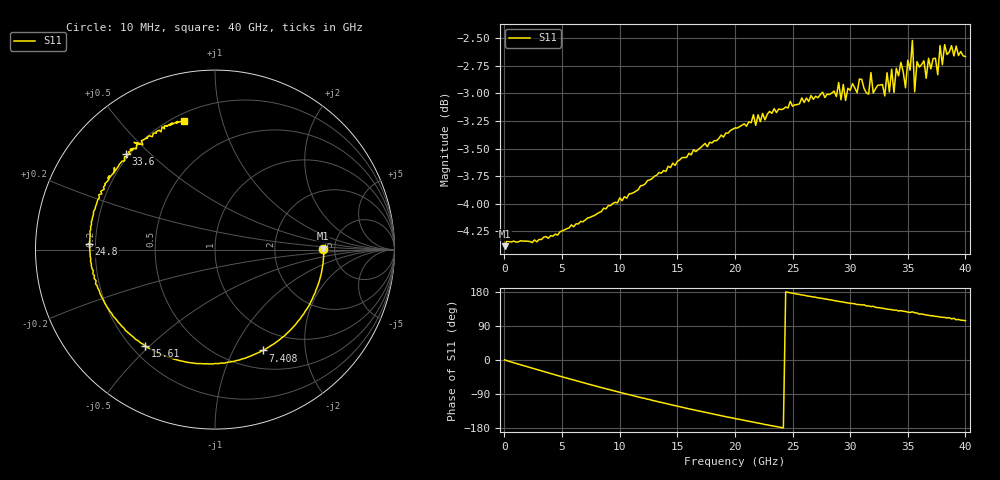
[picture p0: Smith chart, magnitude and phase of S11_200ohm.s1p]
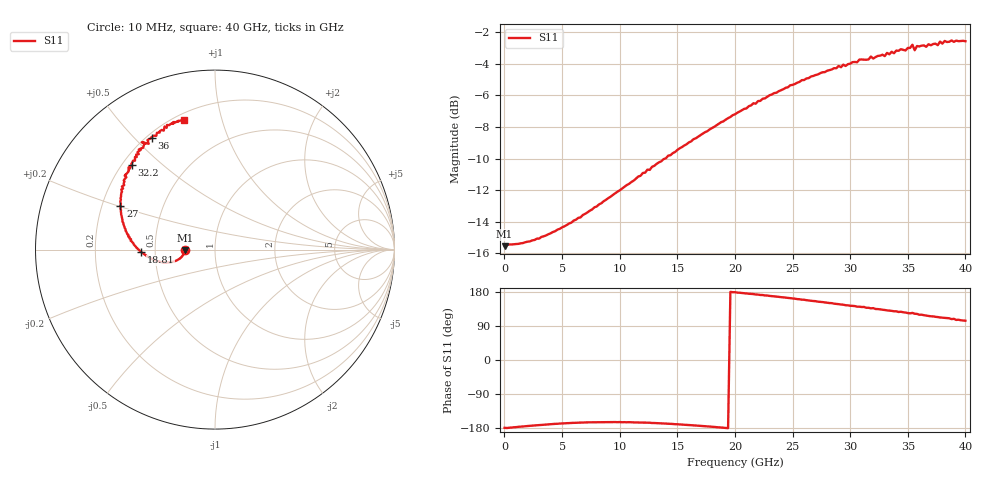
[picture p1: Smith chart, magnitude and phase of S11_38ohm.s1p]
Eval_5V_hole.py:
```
"""
-5 V full result with Cj = 166.44 fF (S11 common refit)
========================================================
All L values locked at -7 V fit (bias-independent), FEM L_Rp.
Only Cj changed via -5V S11 common fit.
Outputs: 3-row figure + origin data (s11, impedance, freqresp meas+model,
model dense 40 GHz, absolute dBm).
"""
import numpy as np, pandas as pd, os
import matplotlib.pyplot as plt

W_A=480e-9; W_C=980e-9; W=W_A+W_C
tau_A=3.530e-12; tau_C=2.880e-12; tau_R=0.070e-12
W_Adep=160e-9; tau_h=W_Adep/4.5e4; W_norm=W+W_Adep
def H_ph(w):
    sinc=lambda x: np.sinc(x/np.pi)
    abs_t=W_A*(2+1j*w*tau_R)/(2*(1+1j*w*tau_R))
    col_t=W_C*sinc(w*tau_C/2)*np.exp(-1j*w*tau_C/2)
    hole_t=W_Adep*sinc(w*tau_h/2)*np.exp(-1j*(w*tau_A+w*tau_h/2))
    return (abs_t+col_t+hole_t)/(W_norm*(1+1j*w*tau_A))
C_CPW=46.53e-15; R_L=50.0; Rs=8.92
Cj=166.44e-15                       # S11 common refit @ -5 V
def _Y_Rp(w,Rp,Lrp):
    return 0.0 if np.isinf(Rp) else 1.0/(Rp+1j*w*Lrp)
def sim_S11(w,Rp,Lcpw,Lrp,Lcpw2):
    Zs=Rs+1j*w*Lcpw2
    Z_dev=Zs+1/(1j*w*Cj)
    Y_n=1j*w*C_CPW+_Y_Rp(w,Rp,Lrp)+1/Z_dev
    Z_in=1j*w*Lcpw+1/Y_n
    return (Z_in-50)/(Z_in+50)
def H_ckt(w,Rp,Lcpw,Lrp,Lcpw2):
    Zs=Rs+1j*w*Lcpw2
    Y_A=1j*w*C_CPW+_Y_Rp(w,Rp,Lrp)+1/(1j*w*Lcpw+R_L)
    return (R_L/(1j*w*Lcpw+R_L))/(1j*w*Cj+Y_A*(1+1j*w*Cj*Zs))
def get_bw(f,Hd):
    idx=np.where(Hd<=-3)[0]
    return f[idx[0]]/1e9 if len(idx) else np.nan
def load_s1p(path):
    rows=[]
    with open(path) as f:
        for line in f:
            line=line.strip()
            if not line or line.startswith(('!','#')): continue
            p=line.split()
            if len(p)>=3: rows.append([float(p[0]),float(p[1]),float(p[2])])
    a=np.array(rows)
    return a[:,0], 10**(a[:,1]/20)*np.exp(1j*np.deg2rad(a[:,2]))
def load_fr(path):
    df=pd.read_excel(path,header=14)
    f=pd.to_numeric(df.iloc[:,0],errors='coerce'); cal=pd.to_numeric(df.iloc[:,6],errors='coerce')
    m=f.notna()&cal.notna(); f,cal=f[m].values*1e9,cal[m].values
    pm=cal-cal[0]; keep=pm<2.0
    return f[keep],pm[keep],cal[keep]

configs=[
    dict(lbl='Rp=200Ω', tag='Rp_200ohm', Rp=200.0, s1p='data_5V_5mA/S11_200ohm.s1p',
         fr='data_5V_5mA/200ohm.xlsx', col='#888888', mk='D',
         Lcpw=197.9e-12, Lcpw2=0.0,     Lrp=153.7e-12),
    dict(lbl='Rp=38Ω',  tag='Rp_38ohm',  Rp=38.0,  s1p='data_5V_5mA/S11_38ohm.s1p',
         fr='data_5V_5mA/38ohm.xlsx',  col='#1B998B', mk='o',
         Lcpw=141.6e-12, Lcpw2=56.3e-12, Lrp=65.6e-12),
    dict(lbl='Rp=60Ω',  tag='Rp_60ohm',  Rp=60.0,  s1p='data_5V_5mA/S11_60ohm.s1p',
         fr='data_5V_5mA/60ohm.xlsx',  col='#FF8C00', mk='s',
         Lcpw=149.9e-12, Lcpw2=48.0e-12, Lrp=71.8e-12),
    dict(lbl='Open',    tag='Open',      Rp=np.inf,s1p='data_5V_5mA/S11_WO.s1p',
         fr='data_5V_5mA/WO.xlsx',     col='#E91E8C', mk='^',
         Lcpw=197.9e-12, Lcpw2=0.0,     Lrp=0.0),
]

f_plot=np.linspace(0.1e9,40e9,4000); w_plot=2*np.pi*f_plot
Iph=5.0e-3
out='origin_data_5V_5mA_hole'; os.makedirs(out,exist_ok=True)
Z0=50.0

print('='*95)
print(f'-5 V result  |  Cj = {Cj*1e15:.2f} fF (S11 common fit)  |  -7 V L values, FEM L_Rp')
print('='*95)
print(f'{"Device":>10} | {"RMS_S11":>8} | {"BW model":>8} | {"BW meas":>8} | {"RMS_H":>6}')
print('-'*60)

def draw_smith(ax,lw=0.6):
    ax.set_xlim(-1.08,1.08); ax.set_ylim(-1.08,1.08)
    ax.set_aspect('equal'); ax.axis('off')
    ax.add_patch(plt.Circle((0,0),1,fill=False,color='#888',lw=lw+0.3))
    ax.axhline(0,color='#888',lw=lw,zorder=0)
    for r in [0.2,0.5,1,2,5]:
        cx,rad=r/(r+1),1/(r+1)
        ax.add_patch(plt.Circle((cx,0),rad,fill=False,color='#aaa',lw=lw,ls=':',zorder=0))
    th=np.linspace(0,np.pi,400)
    for x in [0.2,0.5,1,2,5]:
        for sg in [1,-1]:
            xx=1+(1/x)*np.cos(th); yy=sg/x+(1/x)*np.sin(th)*sg
            m=(xx**2+yy**2<=1.002); ax.plot(xx[m],yy[m],color='#aaa',lw=lw,ls=':',zorder=0)

fig,axes=plt.subplots(3,4,figsize=(20,14))
fig.suptitle(f'-5 V / 5 mA  |  Cj = {Cj*1e15:.1f} fF (S11 refit; C-V: 161 fF), H_ph with dep-abs hole  |  '
             f'-7 V L values (bias-independent), FEM L_Rp\n'
             'Row1: Smith  Row2: |S11| dB  Row3: Freq response',
             fontsize=11,fontweight='bold')

for ci,cfg in enumerate(configs):
    fs11,S11m=load_s1p(cfg['s1p']); ws=2*np.pi*fs11
    S=sim_S11(ws,cfg['Rp'],cfg['Lcpw'],cfg['Lrp'],cfg['Lcpw2'])
    rms=np.sqrt(np.mean(np.abs(S-S11m)**2))
    fm,pm,cal=load_fr(cfg['fr']); wm=2*np.pi*fm
    Hm=H_ph(wm)*H_ckt(wm,cfg['Rp'],cfg['Lcpw'],cfg['Lrp'],cfg['Lcpw2'])
    Hp=H_ph(w_plot)*H_ckt(w_plot,cfg['Rp'],cfg['Lcpw'],cfg['Lrp'],cfg['Lcpw2'])
    Hd_m=20*np.log10(np.abs(Hm)/np.abs(Hm[0]))
    Hd_p=20*np.log10(np.abs(Hp)/np.abs(Hp[0]))
    P_abs=10*np.log10((np.abs(Iph*Hp)**2/(2*R_L))/1e-3)
    P_abs_m=10*np.log10((np.abs(Iph*Hm)**2/(2*R_L))/1e-3)
    rms_H=np.sqrt(np.mean((Hd_m-pm)**2)); bw=get_bw(f_plot,Hd_p)
    i3=np.where(pm<=-3)[0]; bwm=fm[i3[0]]/1e9 if len(i3) else np.nan
    bwm_s=f'{bwm:.1f}' if not np.isnan(bwm) else f'>{fm[-1]/1e9:.0f}'
    print(f'{cfg["lbl"]:>10} | {rms:>8.5f} | {bw:>7.1f}G | {bwm_s:>7}G | {rms_H:>6.2f}')

    ax=axes[0,ci]; draw_smith(ax)
    ax.scatter(S11m.real,S11m.imag,s=10,color=cfg['col'],zorder=6,label='Meas -5V')
    ax.plot(S.real,S.imag,'--',color='k',lw=1.5,zorder=5,label=f'Model Cj={Cj*1e15:.1f}fF')
    ax.set_title(f'{cfg["lbl"]}\nRMS|ΔΓ|={rms:.4f}',fontsize=10,fontweight='bold')
    ax.legend(fontsize=8.5,loc='lower left',framealpha=0.85,edgecolor='none',
              handlelength=1.5,markerscale=1.5)

    ax=axes[1,ci]
    ax.plot(fs11/1e9,20*np.log10(np.abs(S11m)),'-',color=cfg['col'],lw=1.0,label='Meas')
    ax.plot(fs11/1e9,20*np.log10(np.abs(S)),'--',color='k',lw=1.4,label='Model')
    ax.set_xlabel('Frequency (GHz)'); ax.set_ylabel('|S11| (dB)')
    ax.set_xlim(0,40); ax.legend(fontsize=8.5,loc='lower right'); ax.grid(True,alpha=0.3)

    ax=axes[2,ci]
    ax.scatter(fm/1e9,pm,color='k',marker=cfg['mk'],s=22,edgecolors=cfg['col'],
               linewidths=1.0,zorder=5,label='Meas (5 mA)')
    ax.plot(f_plot/1e9,Hd_p,'-',color=cfg['col'],lw=2.0,
            label=f'Model BW={bw:.1f}G, RMS={rms_H:.2f}dB')
    ax.axhline(-3,color='gray',ls=':',lw=0.7,alpha=0.7)
    ax.set_xlabel('Frequency (GHz)'); ax.set_ylabel('Norm. H (dB)')
    ax.set_xlim(0,40); ax.set_ylim(-15,3)
    ax.legend(fontsize=8.5,loc='lower left'); ax.grid(True,alpha=0.3)

    # Origin exports
    t=cfg['tag']
    zm=(1+S11m)/(1-S11m); zf=(1+S)/(1-S)
    with open(f'{out}/s11_{t}.txt','w') as fp:
        fp.write('Freq_GHz\tS11_meas_dB\tS11_meas_deg\tS11_model_dB\tS11_model_deg\n')
        for i in range(len(fs11)):
            fp.write(f'{fs11[i]/1e9:.6g}\t{20*np.log10(abs(S11m[i])):.6g}\t'
                     f'{np.angle(S11m[i],deg=True):.6g}\t'
                     f'{20*np.log10(abs(S[i])):.6g}\t{np.angle(S[i],deg=True):.6g}\n')
    with open(f'{out}/smith_{t}.txt','w') as fp:
        fp.write('Freq_GHz\tRe_S11_meas\tIm_S11_meas\tRe_S11_model\tIm_S11_model\n')
        for i in range(len(fs11)):
            fp.write(f'{fs11[i]/1e9:.6g}\t{S11m.real[i]:.6g}\t{S11m.imag[i]:.6g}\t'
                     f'{S.real[i]:.6g}\t{S.imag[i]:.6g}\n')
    with open(f'{out}/impedance_{t}.txt','w') as fp:
        fp.write('Freq_GHz\tr_meas\tx_meas\tr_model\tx_model\tR_meas_ohm\tX_meas_ohm\tR_model_ohm\tX_model_ohm\n')
        for i in range(len(fs11)):
            fp.write(f'{fs11[i]/1e9:.6g}\t{zm.real[i]:.6g}\t{zm.imag[i]:.6g}\t'
                     f'{zf.real[i]:.6g}\t{zf.imag[i]:.6g}\t{zm.real[i]*Z0:.6g}\t{zm.imag[i]*Z0:.6g}\t'
                     f'{zf.real[i]*Z0:.6g}\t{zf.imag[i]*Z0:.6g}\n')
    with open(f'{out}/freqresp_{t}.txt','w') as fp:
        fp.write('Freq_GHz\tNorm_dB_meas\tNorm_dB_model\tCalRF_dBm_meas\tModel_dBm_5mA\n')
        for i in range(len(fm)):
            fp.write(f'{fm[i]/1e9:.6g}\t{pm[i]:.6g}\t{Hd_m[i]:.6g}\t{cal[i]:.6g}\t{P_abs_m[i]:.6g}\n')
    with open(f'{out}/model_40GHz_{t}.txt','w') as fp:
        fp.write('Freq_GHz\tModel_Norm_dB\tModel_dBm_5mA\n')
        for i in range(len(f_plot)):
            fp.write(f'{f_plot[i]/1e9:.6g}\t{Hd_p[i]:.6g}\t{P_abs[i]:.6g}\n')

fig.tight_layout()
fig.savefig('Eval_5V_hole.png',dpi=150,bbox_inches='tight')
print(f'\nSaved: Eval_5V_Cj166.png + {out}/ (5 file types x 4 devices)')
```
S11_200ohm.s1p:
!Agilent Technologies,N5227A,US51270434,A.10.00.00
!Agilent N5227A: A.10.00.00
!Date: Monday, March 30, 2026 11:35:38
!Correction: S11(Full 1 Port(1))
!S1P File: Measurement: S11:
# Hz S  dB  R 50
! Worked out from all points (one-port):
!   201 points, 10 MHz to 40 GHz, reference 50 ohm
!   lowest |S11| = -4.4 dB at 10 MHz (marker M1), VSWR 4.05, Z = 202 + j2.75 ohm
!   |S11| at or under -10 dB: nowhere
!   S11 on the Smith chart (normalised r, x): 10 MHz: 4.05, +0.06; 7.408 GHz: 0.72, -1.32; 15.61 GHz: 0.25, -0.48; 24.8 GHz: 0.18, +0.02; 33.6 GHz: 0.19, +0.42; 40 GHz: 0.24, +0.76
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1e7  -4.38 0.4
3.40915e9  -4.30 -30.4
7.40815e9  -4.12 -64.6
1.00075e10  -3.95 -85.3
1.340665e10  -3.72 -110.6
1.56061e10  -3.58 -126.1
1.980505e10  -3.32 -153.4
2.48038e10  -3.07 177.5
2.68033e10  -3.05 166.3
3.36016e10  -2.78 132.9
3.52012e10  -2.79 125.5
3.540115e10  -2.52 127.1
3.6001e10  -2.76 121.1
4e10  -2.67 103.7
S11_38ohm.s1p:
!Agilent Technologies,N5227A,US51270434,A.10.00.00
!Agilent N5227A: A.10.00.00
!Date: Monday, March 30, 2026 11:27:45
!Correction: S11(Full 1 Port(1))
!S1P File: Measurement: S11:
# Hz S  dB  R 50
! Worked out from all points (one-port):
!   201 points, 10 MHz to 40 GHz, reference 50 ohm
!   lowest |S11| = -15.5 dB at 10 MHz (marker M1), VSWR 1.40, Z = 35.7 - j0.205 ohm
!   |S11| at or under -10 dB: start of sweep to 13.95 GHz
!   S11 on the Smith chart (normalised r, x): 10 MHz: 0.71, -0.00; 18.81 GHz: 0.42, -0.01; 27 GHz: 0.28, +0.20; 32.2 GHz: 0.24, +0.40; 36 GHz: 0.22, +0.56; 40 GHz: 0.24, +0.76
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1e7  -15.54 -179.0
5.80855e9  -14.05 -166.1
1.340665e10  -10.24 -166.9
1.88053e10  -7.70 -178.2
2.28043e10  -6.09 170.1
2.68033e10  -4.78 155.6
2.700325e10  -4.72 155.2
3.08023e10  -3.74 140.7
3.220195e10  -3.59 134.6
3.52012e10  -3.01 123.1
3.540115e10  -2.81 124.3
3.56011e10  -3.15 122.1
3.6001e10  -2.91 119.5
4e10  -2.58 103.6
